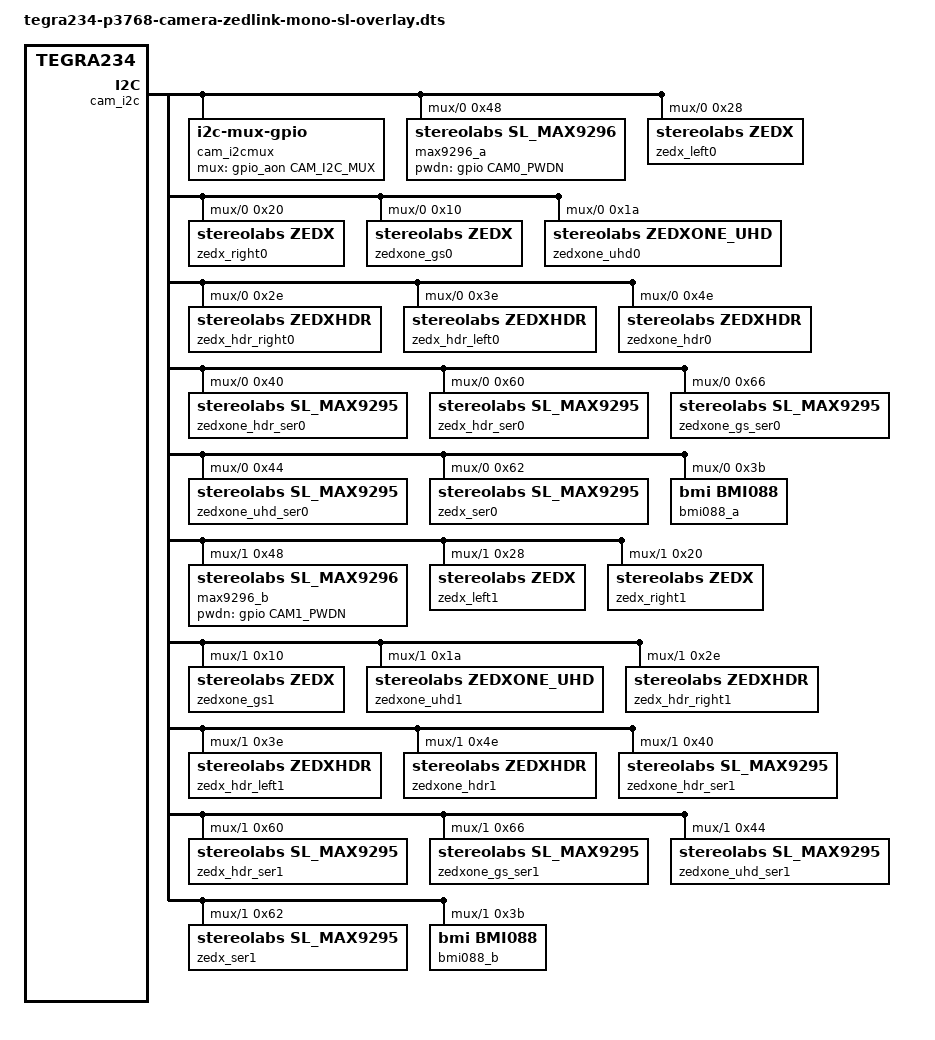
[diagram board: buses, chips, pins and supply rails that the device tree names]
// SPDX-License-Identifier: GPL-2.0-only
// SPDX-FileCopyrightText: Copyright (c) 2023-2024, NVIDIA CORPORATION & AFFILIATES. All rights reserved.

#ifdef BUILDOVERLAY
/dts-v1/;
/plugin/;
#endif 

#include "tegra234-camera-zedlink-mono-p3768-devkit.dtsi"
#include "Utils/camera-clks.dtsi"
#include "dt-bindings/gpio/tegra234-gpio.h"
#include "dt-bindings/clock/tegra234-clock.h"
#include <dt-bindings/tegra234-p3767-0000-common.h>

#define CAM0_RST_L  TEGRA234_MAIN_GPIO(H, 3)
#define CAM0_PWDN   TEGRA234_MAIN_GPIO(H, 6)
#define CAM1_RST_L  TEGRA234_MAIN_GPIO(AC, 1)
#define CAM1_PWDN   TEGRA234_MAIN_GPIO(AC, 0)
#define PWR_EN      TEGRA234_MAIN_GPIO(AC, 7)
#define CAM_I2C_MUX	TEGRA234_AON_GPIO(CC, 3)

#define CAMERA_I2C_MUX_BUS(x) (0x1E + x)


/* camera control gpio definitions */
/ {
#ifdef BUILDOVERLAY
	overlay-name = "Jetson Camera ZED + ZED Link Mono";
	jetson-header-name = "Jetson 24pin CSI Connector";
	compatible = JETSON_COMPATIBLE_P3768;

	fragment-camera-imx219@0 {
		target-path = "/";
		__overlay__ {
#endif
			bus@0 {
				cam_i2cmux{
					i2c@0 {
						/delete-node/ rbpcv2_imx219_a@10;
					};
					i2c@1 {
						/delete-node/ rbpcv2_imx219_c@10;
					};
				};
				gpio@2200000 {
					camera-control-output-low
					{
						status="disabled";
					};
				};
			};
#ifdef BUILDOVERLAY
		};
	};

	fragment-camera-zedx-zedlink-mono@0 {
		target-path = "/";
		__overlay__ {
#endif
			bus@0 {
				cam_i2cmux{
					status = "okay";
					compatible = "i2c-mux-gpio";
					#address-cells = <1>;
					#size-cells = <0>;
					i2c-parent = <&cam_i2c>;
					mux-gpios = <&gpio_aon CAM_I2C_MUX GPIO_ACTIVE_HIGH>;

					i2c@0 {
						reg = <0>;
						#address-cells = <1>;
						#size-cells = <0>;
						status = "okay";

						/* deserializer MAX9296 at address 0x48*/
						max9296_a@48 {
							compatible = "stereolabs,sl_max9296";
							reg = <0x48>;  /* deserializer i2c_address */
							channel = "a"; /* deserializer channel: one per deser */
							sync_mode = "master";
							camera-serializers = < /* GMSL 0 */ &zedxone_hdr_ser0 &zedx_hdr_ser0 &zedxone_gs_ser0 &zedxone_uhd_ser0 &zedx_ser0>;
							pwdn-gpio = <&gpio CAM0_PWDN GPIO_ACTIVE_HIGH>;
						};

						/* ZEDX Left Cam */
						zedx_left0: zedx_left_0@28 {
							compatible = "stereolabs,zedx";
							reg = <0x28>;

							ZED_ORIN_CLKS

							zedx-id = "0";
							channel = "a";   /* deserializer channel */
							
							has-eeprom;
							eeprom-addr = <0x54>;
						};
						
						/* ZEDX Right Cam */
						zedx_right0: zedx_right_0@20 {
							compatible = "stereolabs,zedx";
							reg = <0x20>;
							
							ZED_ORIN_CLKS

							zedx-id = "0";
							channel = "a";  /* deserializer channel */
							
							has-eeprom;
							eeprom-addr=<0x54>;
						};

						/* ZEDX One GS 0 Cam */
						zedxone_gs0: zedxone_gs_0@10 {
							compatible = "stereolabs,zedx";
							reg = <0x10>;

							ZED_ORIN_CLKS
							zedx-id = "1";
							channel = "a";   /* deserializer channel */
							
							has-eeprom;
							eeprom-addr=<0x56>;
						};

						/*ZEDX One 4K 0 Cam*/
						zedxone_uhd0:zedxone_uhd_0@1a {
							compatible = "stereolabs,zedxone_uhd";
							reg = <0x1a>;

							ZED_ORIN_CLKS

							zedx-id = "2";
							channel = "a";

							has-eeprom;
							eeprom-addr=<0x54>;
						};

						/* ZEDX Pro Right Cam 0 */
						zedx_hdr_right0: zedx_hdr_right_0@2e {
							compatible = "stereolabs,zedxhdr";
							reg = <0x2e>;
							
							ZED_ORIN_CLKS

							channel = "a"; /* deserializer channel */
							zedx-id = "3";
							
							has-eeprom;
							eeprom-addr = <0x52>;
						};
						
						/* ZEDX Pro Left Cam 0 */
						zedx_hdr_left0: zedx_hdr_left_0@3e {
							compatible = "stereolabs,zedxhdr";
							reg = <0x3e>;
							
							ZED_ORIN_CLKS

							channel = "a";  /* deserializer channel */
							zedx-id = "3";
							
							has-eeprom;
							eeprom-addr = <0x52>;
						};

						/* ZEDX One pro Cam 0 */
						zedxone_hdr0: zedxone_hdr_0@4e {
							compatible = "stereolabs,zedxhdr";
							reg = <0x4e>;
							
							ZED_ORIN_CLKS

							zedx-id = "4";
							channel = "a";  /* deserializer channel */
							
							has-eeprom;
							eeprom-addr = <0x52>;
						};

						zedxone_hdr_ser0: zedxone_hdr_ser_0@40 {
							compatible = "stereolabs,sl_max9295";
							reg = <0x40>;

							zedx-id = "4";
							channel = "a";
							mode = "master";

							camera_model = "zedonehdr";
							camera-sensors = <&zedxone_hdr0>;
							imu = <&bmi088_a>;
						};
					
						zedx_hdr_ser0: zedx_hdr_ser_0@60 {
							compatible = "stereolabs,sl_max9295";
							reg = <0x60>;

							zedx-id = "3";
							channel = "a";
							mode = "master";
							
							camera_model = "zedxhdr";
							camera-sensors = <&zedx_hdr_right0 &zedx_hdr_left0>;//!\\ Different order than ZED-X
							imu = <&bmi088_a>;
						};

						zedxone_gs_ser0: zedxone_gs_ser_0@66 {
							compatible = "stereolabs,sl_max9295";
							reg = <0x66>;

							zedx-id = "1";
							channel = "a";
							mode = "master";
							
							camera_model = "zedonegs";
							camera-sensors = <&zedxone_gs0>;
							imu = <&bmi088_a>;
						};
					
						zedxone_uhd_ser0: zedxone_uhd_ser_0@44 {
							compatible = "stereolabs,sl_max9295";
							reg = <0x44>;

							zedx-id = "2";
							channel = "a";
							mode = "master";

							camera_model = "zedone4k";
							camera-sensors = <&zedxone_uhd0>;
							imu = <&bmi088_a>;
						};

						/* ZEDX 0 Serializer */
						zedx_ser0: zedx_ser_0@62 {
							compatible = "stereolabs,sl_max9295";
							reg = <0x62>;

							zedx-id = "0";
							channel = "a";
							mode = "master";
							
							camera_model = "zedx";
							camera-sensors = <&zedx_left0 &zedx_right0>;
							imu = <&bmi088_a>;
						};

						/* IMU A*/
						bmi088_a: bmi088_a_@3b {
							status = "okay";
							compatible = "bmi,bmi088";
							reg = <0x3b>; /* <-- Must be gyroscope I2C address */
							accel_i2c_addr = <0x3c>; /* Must be specified */
							accel_matrix    = [01 00 00 00 01 00 00 00 01];
							gyro_matrix        = [01 00 00 00 01 00 00 00 01];
						};
					};

					/* /dev/i2c-31/ */
					i2c@1 {
						reg = <1>;
						#address-cells = <1>;
						#size-cells = <0>;
						status = "okay";

						/* deserializer MAX9296 at address 0x48*/
						max9296_b@48 {
							compatible = "stereolabs,sl_max9296";
							reg = <0x48>;  /* deserializer i2c_address */
							channel = "b"; /* deserializer channel: one per deser */
							camera-serializers = < /* GMSL 1 */ &zedxone_hdr_ser1 &zedx_hdr_ser1 &zedxone_gs_ser1 &zedxone_uhd_ser1 &zedx_ser1>;
							pwdn-gpio =	<&gpio CAM1_PWDN GPIO_ACTIVE_HIGH>;
						};

						/* ZEDX 1 Left Cam */
						zedx_left1: zedx_left_1@28 {
							compatible = "stereolabs,zedx";
							reg = <0x28>;

							ZED_ORIN_CLKS

							zedx-id = "5";
							channel = "b";  /* deserializer channel */
							
							has-eeprom;
							eeprom-addr=<0x54>;
						};
					
						/* ZEDX 1 Right Cam */
						zedx_right1: zedx_right_1@20 {
							compatible = "stereolabs,zedx";
							reg = <0x20>;
							
							ZED_ORIN_CLKS

							zedx-id = "5";
							channel = "b"; /* deserializer channel */
							
							has-eeprom;
							eeprom-addr=<0x54>;
						};

						/* ZEDX One GS*/
						zedxone_gs1: zedxone_gs_1@10 {
							compatible = "stereolabs,zedx";
							reg = <0x10>;

							ZED_ORIN_CLKS

							zedx-id = "6";
							channel = "b";   /* deserializer channel */
							
							has-eeprom;
							eeprom-addr=<0x56>;
						};

						/*ZEDX One 4K 0 Cam*/
						zedxone_uhd1:zedxone_uhd_1@1a {
							compatible = "stereolabs,zedxone_uhd";
							reg = <0x1a>;

							ZED_ORIN_CLKS

							zedx-id = "7";
							channel = "b";	/* deserializer channel */

							has-eeprom;
							eeprom-addr=<0x54>;
						};

						/* ZEDX Pro Right Cam 1 */
						zedx_hdr_right1: zedx_hdr_right_1@2e {
							compatible = "stereolabs,zedxhdr";
							reg = <0x2e>;

							ZED_ORIN_CLKS

							zedx-id = "8";
							channel = "b"; /* deserializer channel */
							
							has-eeprom;
							eeprom-addr = <0x52>;
						};
						
						/* ZEDX Pro Left Cam 1 */
						zedx_hdr_left1: zedx_hdr_left_1@3e {
							compatible = "stereolabs,zedxhdr";
							reg = <0x3e>;
							
							ZED_ORIN_CLKS

							zedx-id = "8";
							channel = "b";  /* deserializer channel */
							
							has-eeprom;
							eeprom-addr = <0x52>;
						};

						/* ZEDX One pro Cam 1 */
						zedxone_hdr1: zedxone_hdr_1@4e {
							compatible = "stereolabs,zedxhdr";
							reg = <0x4e>;
							
							ZED_ORIN_CLKS

							zedx-id = "9";
							channel = "b";  /* deserializer channel */
							
							has-eeprom;
							eeprom-addr = <0x52>;
						};

						zedxone_hdr_ser1: zedxone_hdr_ser_1@40 {
							compatible = "stereolabs,sl_max9295";
							reg = <0x40>;

							zedx-id = "9";
							channel = "b";
							mode = "master";

							camera_model = "zedonehdr";
							camera-sensors = <&zedxone_hdr1>;
							imu = <&bmi088_b>;
						};
						
						zedx_hdr_ser1: zedx_hdr_ser_1@60 {
							compatible = "stereolabs,sl_max9295";
							reg = <0x60>;

							zedx-id = "8";
							channel = "b";
							mode = "master";

							camera_model = "zedxhdr";
							camera-sensors = <&zedx_hdr_right1 &zedx_hdr_left1>;//!\\ Different order than ZED-X
							imu = <&bmi088_b>;
						};

						zedxone_gs_ser1: zedxone_gs_ser_1@66 {
							compatible = "stereolabs,sl_max9295";
							reg = <0x66>;

							zedx-id = "6";
							channel = "b";
							mode = "master";

							camera_model = "zedonegs";
							camera-sensors = <&zedxone_gs1>;
							imu = <&bmi088_b>;
						};
					
						zedxone_uhd_ser1: zedxone_uhd_ser_1@44 {
							compatible = "stereolabs,sl_max9295";
							reg = <0x44>;

							zedx-id = "7";
							channel = "b";
							mode = "master";

							camera_model = "zedone4k";
							camera-sensors = <&zedxone_uhd1>;
							imu = <&bmi088_b>;
						};

						/* ZEDX 1 Serializer */
						zedx_ser1: zedx_ser_1@62 {
							compatible = "stereolabs,sl_max9295";
							reg = <0x62>;

							zedx-id = "5";
							channel = "b";
							mode = "master"; /* the serializer of the ZEDX 1 is */

							camera_model = "zedx";
							camera-sensors = <&zedx_left1 &zedx_right1>;
							imu = <&bmi088_b>;
						};

						/* IMU B*/
						bmi088_b: bmi088_b_@3b {
							status = "okay";
							compatible = "bmi,bmi088";
							reg = <0x3b>; /* <-- Must be gyroscope I2C address */
							accel_i2c_addr = <0x3c>; /* Must be specified */
							accel_matrix    = [01 00 00 00 01 00 00 00 01];
							gyro_matrix        = [01 00 00 00 01 00 00 00 01];
						};
					};
				};
			};
#ifdef BUILDOVERLAY
		};
	};
#endif
};
